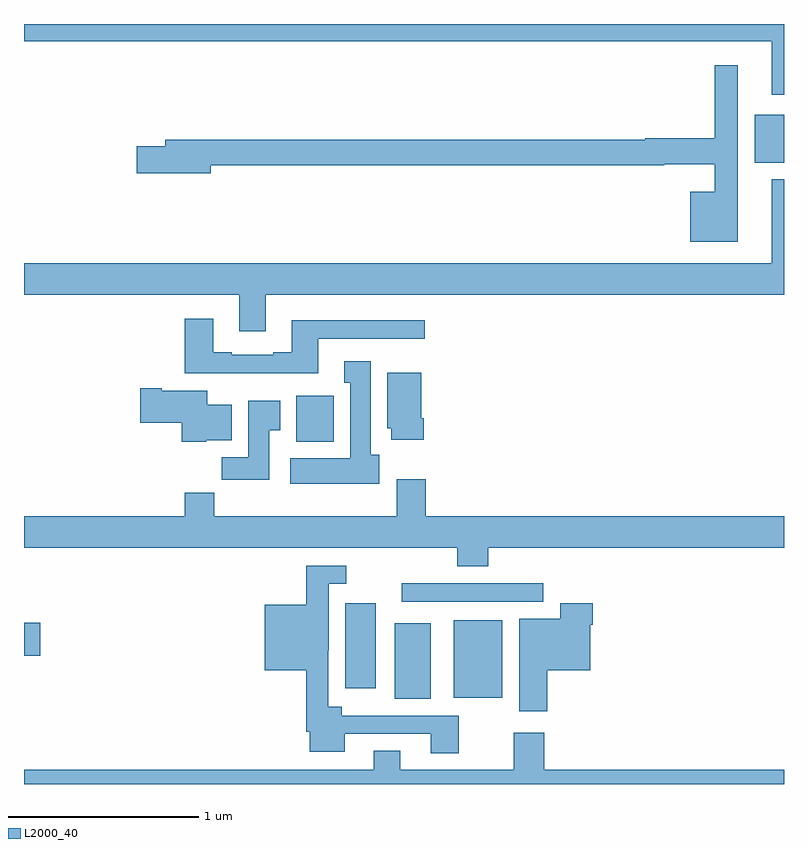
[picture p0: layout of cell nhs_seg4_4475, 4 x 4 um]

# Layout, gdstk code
import gdstk
lib = gdstk.Library(unit=1e-6, precision=1e-09)
def R(c, l, rs):  # rectangles x0, y0, x1, y1
    for r in rs: c.add(gdstk.rectangle(r[:2], r[2:], *l))
def P(c, l, *ps):  # polygons
    for p in ps: c.add(gdstk.Polygon(p, *l))
L2000_40 = (2000, 40)

nhs_seg4_4475 = lib.new_cell('nhs_seg4_4475')
R(nhs_seg4_4475, L2000_40, [(352.952,805.349,353.14,805.747), (353.261,805.355,353.518,805.762), (352.691,805.404,352.852,805.852), (351,805.574,351.085,805.75), (352.989,805.86,353.734,805.956), (352.433,806.702,352.63,806.944), (354.845,808.169,355,808.423)])
P(nhs_seg4_4475, L2000_40, [(355,808.9),(351,808.9),(351,808.808),(354.935,808.808),(354.935,808.527),(355,808.527)],
  [(354.757,808.684),(354.636,808.684),(354.636,808.298),(354.27,808.298),(354.27,808.292),(351.743,808.292),(351.743,808.256),(351.594,808.256),(351.594,808.114),(351.982,808.114),(351.982,808.156),(354.37,808.156),(354.37,808.163),(354.636,808.163),(354.636,808.018),(354.506,808.018),(354.506,807.755),(354.757,807.755)],
  [(352.273,807.476),(355,807.476),(355,808.084),(354.935,808.084),(354.935,807.64),(351,807.64),(351,807.476),(352.133,807.476),(352.133,807.282),(352.273,807.282)],
  [(352.549,807.243),(353.11,807.243),(353.11,807.34),(352.409,807.34),(352.409,807.172),(352.313,807.172),(352.313,807.159),(352.093,807.159),(352.093,807.172),(351.997,807.172),(351.997,807.349),(351.845,807.349),(351.845,807.062),(352.549,807.062)],
  [(352.87,806.634),(352.825,806.634),(352.825,807.124),(352.685,807.124),(352.685,807.011),(352.718,807.011),(352.718,806.614),(352.401,806.614),(352.401,806.48),(352.87,806.48)],
  [(353.105,806.824),(353.092,806.824),(353.092,807.064),(352.913,807.064),(352.913,806.772),(352.934,806.772),(352.934,806.712),(353.105,806.712)],
  [(351.96,806.708),(352.093,806.708),(352.093,806.896),(351.964,806.896),(351.964,806.971),(351.724,806.971),(351.724,806.984),(351.612,806.984),(351.612,806.801),(351.83,806.801),(351.83,806.702),(351.96,806.702)],
  [(352.291,806.761),(352.348,806.761),(352.348,806.917),(352.181,806.917),(352.181,806.62),(352.042,806.62),(352.042,806.502),(352.291,806.502)],
  [(353.444,806.144),(355,806.144),(355,806.308),(353.114,806.308),(353.114,806.503),(352.961,806.503),(352.961,806.308),(352.001,806.308),(352.001,806.432),(351.845,806.432),(351.845,806.308),(351,806.308),(351,806.144),(353.279,806.144),(353.279,806.045),(353.444,806.045)],
  [(353.289,805.26),(352.672,805.26),(352.672,805.306),(352.602,805.306),(352.602,805.603),(352.603,805.603),(352.603,805.953),(352.696,805.953),(352.696,806.049),(352.486,806.049),(352.486,805.843),(352.268,805.843),(352.268,805.499),(352.486,805.499),(352.486,805.174),(352.505,805.174),(352.505,805.07),(352.687,805.07),(352.687,805.164),(353.141,805.164),(353.141,805.062),(353.289,805.062)],
  [(353.753,805.499),(353.98,805.499),(353.98,805.739),(353.993,805.739),(353.993,805.852),(353.822,805.852),(353.822,805.771),(353.606,805.771),(353.606,805.284),(353.753,805.284)],
  [(355,804.976),(353.738,804.976),(353.738,805.171),(353.578,805.171),(353.578,804.976),(352.981,804.976),(352.981,805.075),(352.841,805.075),(352.841,804.976),(351,804.976),(351,804.9),(355,804.9)])

lib.write_gds('nhs_seg4_4475.gds')
